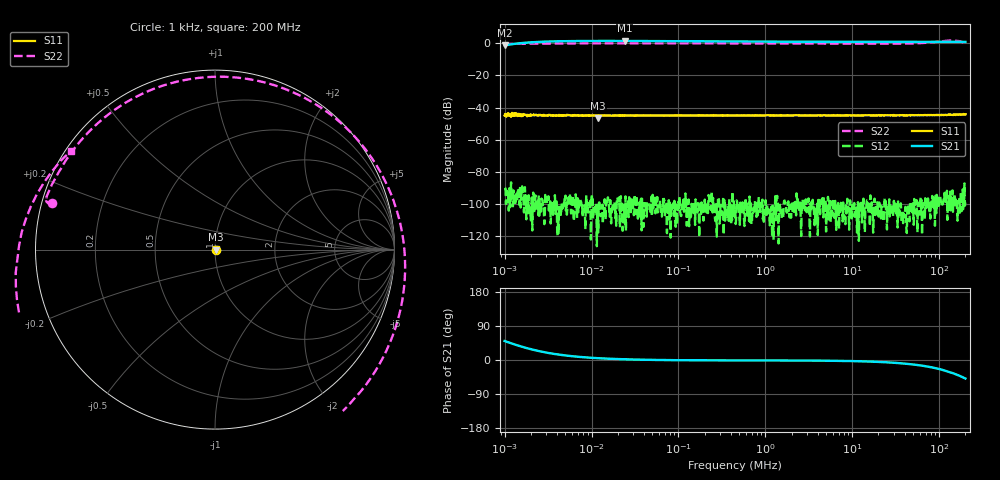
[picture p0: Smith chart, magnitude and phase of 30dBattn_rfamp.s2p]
! ListType=Log
# MHZ S RI R 50
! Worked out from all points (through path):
!   1000 points, 1 kHz to 200 MHz, reference 50 ohm
!   highest |S21| = 1.46 dB at 23.97 kHz (marker M1); lowest = -1.4 dB at 1 kHz (marker M2)
!   group delay of S21, straight-line fit = 809 ps
!   lowest |S11| = -46.5 dB at 11.95 kHz (marker M3), VSWR 1.01, Z = 50.5 - j0.0264 ohm
!   |S11| at or under -10 dB: start of sweep to end of sweep
!   |S22| runs from -0.5 to 1.7 dB; largest |S21 - S12| = 1.2
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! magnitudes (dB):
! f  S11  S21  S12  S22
! 1 kHz  -44.9  -1.4  -89.9  -0.5
! 1.076 kHz  -44.7  -1.1  -95.1  -0.5
! 1.201 kHz  -44.5  -0.7  -96.4  -0.5
! 1.277 kHz  -44.9  -0.5  -93.4  -0.4
! 1.374 kHz  -44.6  -0.3  -93.5  -0.4
! 1.534 kHz  -45.3  0.0  -102.0  -0.4
! 2.267 kHz  -44.7  0.7  -94.6  -0.3
! 2.967 kHz  -45.0  0.9  -96.7  -0.3
! 5.399 kHz  -44.6  1.2  -96.5  -0.2
! 7.694 kHz  -44.8  1.3  -101.3  -0.2
! 10.97 kHz  -44.9  1.3  -101.6  -0.1
! 11.95 kHz  -46.5  1.2  -117.4  -0.1
! 13.5 kHz  -44.9  1.3  -112.2  -0.1
! 23.97 kHz  -44.7  1.5  -107.1  -0.1
! 58.48 kHz  -45.0  1.3  -102.4  -0.1
! 450 kHz  -44.9  1.0  -102.7  -0.2
! 3.42 MHz  -44.9  0.8  -102.6  -0.2
! 26.31 MHz  -44.8  0.7  -106.0  -0.4
! 61.89 MHz  -44.7  0.8  -105.1  0.0
! 140.3 MHz  -44.5  0.8  -94.9  1.6
! 166.5 MHz  -44.5  0.8  -98.2  1.3
! 200 MHz  -44.1  0.7  -96.8  -0.2
